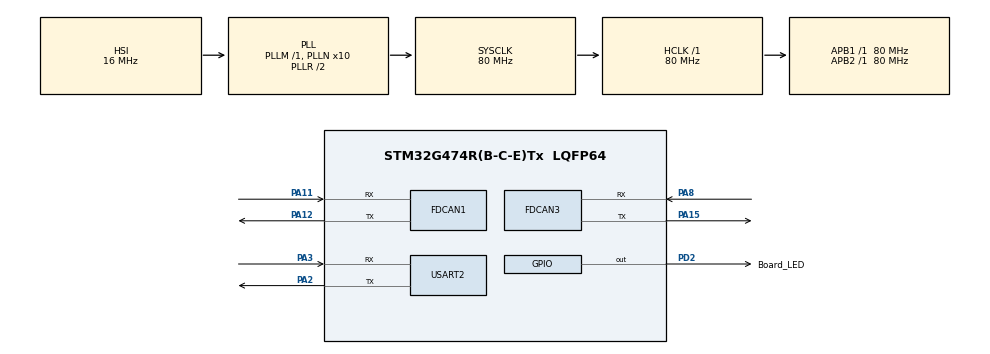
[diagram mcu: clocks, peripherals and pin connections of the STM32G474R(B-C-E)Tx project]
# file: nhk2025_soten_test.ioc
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FDCAN1.CalculateBaudRateNominal=1000000
FDCAN1.CalculateTimeBitNominal=1000
FDCAN1.CalculateTimeQuantumNominal=50.0
FDCAN1.DataPrescaler=2
FDCAN1.DataTimeSeg1=15
FDCAN1.DataTimeSeg2=4
FDCAN1.FrameFormat=FDCAN_FRAME_FD_BRS
FDCAN1.NominalPrescaler=4
FDCAN1.NominalTimeSeg1=15
FDCAN1.NominalTimeSeg2=4
FDCAN1.StdFiltersNbr=1
FDCAN3.CalculateBaudRateNominal=1000000
FDCAN3.CalculateTimeBitNominal=1000
FDCAN3.CalculateTimeQuantumNominal=50.0
FDCAN3.DataPrescaler=2
FDCAN3.DataTimeSeg1=15
FDCAN3.DataTimeSeg2=4
FDCAN3.FrameFormat=FDCAN_FRAME_FD_BRS
FDCAN3.NominalPrescaler=4
FDCAN3.NominalTimeSeg1=15
FDCAN3.NominalTimeSeg2=4
FDCAN3.StdFiltersNbr=1
Mcu.Family=STM32G4
Mcu.Name=STM32G474R(B-C-E)Tx
Mcu.Package=LQFP64
NVIC.FDCAN1_IT0_IRQn=true\:0\:0\:false\:false\:true\:true\:true\:true
NVIC.FDCAN1_IT1_IRQn=true\:0\:0\:false\:false\:true\:true\:true\:true
NVIC.FDCAN3_IT0_IRQn=true\:0\:0\:false\:false\:true\:true\:true\:true
NVIC.FDCAN3_IT1_IRQn=true\:0\:0\:false\:false\:true\:true\:true\:true
NVIC.PriorityGroup=NVIC_PRIORITYGROUP_4
NVIC.TIM6_DAC_IRQn=true\:0\:0\:false\:false\:true\:true\:true\:true
NVIC.USART2_IRQn=true\:0\:0\:false\:false\:true\:true\:true\:true
PA11.Mode=FDCAN_Activate
PA11.Signal=FDCAN1_RX
PA12.Mode=FDCAN_Activate
PA12.Signal=FDCAN1_TX
PA15.Mode=FDCAN_Activate
PA15.Signal=FDCAN3_TX
PA2.Mode=Asynchronous
PA2.Signal=USART2_TX
PA3.Mode=Asynchronous
PA3.Signal=USART2_RX
PA8.Mode=FDCAN_Activate
PA8.Signal=FDCAN3_RX
PD2.GPIO_Label=Board_LED
PD2.Signal=GPIO_Output
ProjectManager.HeapSize=0x200
ProjectManager.StackSize=0x400
ProjectManager.TargetToolchain=STM32CubeIDE
RCC.ADC12Freq_Value=80000000
RCC.ADC345Freq_Value=80000000
RCC.AHBFreq_Value=80000000
RCC.APB1Freq_Value=80000000
RCC.APB1TimFreq_Value=80000000
RCC.APB2Freq_Value=80000000
RCC.APB2TimFreq_Value=80000000
RCC.CortexFreq_Value=80000000
RCC.EXTERNAL_CLOCK_VALUE=12288000
RCC.HCLKFreq_Value=80000000
RCC.HSE_VALUE=8000000
RCC.HSI48_VALUE=48000000
RCC.HSI_VALUE=16000000
RCC.LSE_VALUE=32768
RCC.PLLN=10
RCC.SYSCLKFreq_VALUE=80000000
RCC.SYSCLKSource=RCC_SYSCLKSOURCE_PLLCLK
RCC.USBFreq_Value=80000000
RCC.VCOOutputFreq_Value=160000000
TIM6.PeriodNoDither=7999
TIM6.Prescaler=9
USART2.VirtualMode-Asynchronous=VM_ASYNC
VP_SYS_VS_DBSignals.Mode=DisableDeadBatterySignals
VP_TIM6_VS_ClockSourceINT.Mode=Enable_Timer
board=custom

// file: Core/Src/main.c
/* USER CODE BEGIN Header */
/**
  ******************************************************************************
  * @file           : main.c
  * @brief          : Main program body
  ******************************************************************************
  * @attention
  *
  * Copyright (c) 2024 STMicroelectronics.
  * All rights reserved.
  *
  * This software is licensed under terms that can be found in the LICENSE file
  * in the root directory of this software component.
  * If no LICENSE file comes with this software, it is provided AS-IS.
  *
  ******************************************************************************
  */
/* USER CODE END Header */
#include "main.h"

/* USER CODE BEGIN Includes */
#include <stdio.h>
/* USER CODE END Includes */

/* USER CODE BEGIN PTD */
typedef struct{
	uint16_t CANID;
	uint8_t motorID;
	int16_t trgVel;
	volatile int16_t actVel;
	volatile int16_t p_actVel;
	volatile int16_t cu;
	double actangle;
	int16_t actCurrent;
	float hensa;
	float ind;
	float w;
}motor;

#define true 1
#define false 0
/* USER CODE END PTD */

FDCAN_HandleTypeDef hfdcan1;
FDCAN_HandleTypeDef hfdcan3;

TIM_HandleTypeDef htim6;

UART_HandleTypeDef huart2;

/* USER CODE BEGIN PV */
FDCAN_TxHeaderTypeDef TxHeader;
FDCAN_RxHeaderTypeDef RxHeader;
FDCAN_TxHeaderTypeDef TxHeader_motor;
FDCAN_RxHeaderTypeDef RxHeader_motor;
FDCAN_FilterTypeDef sFilterConfig;

uint8_t TxData[8] = {};
uint8_t RxData[8] = {};
uint8_t TxData_motor[8] = {};
uint8_t RxData_motor[8] = {};

motor robomas[8] = {
		{0x201, 1, 0, 0, 0, 0, 0, 0, 0, 0, 0},
		{0x202, 2, 0, 0, 0, 0, 0, 0, 0, 0, 0},
		{0x203, 3, 0, 0, 0, 0, 0, 0, 0, 0, 0},
		{0x204, 4, 0, 0, 0, 0, 0, 0, 0, 0, 0},
		{0x205, 5, 0, 0, 0, 0, 0, 0, 0, 0, 0},
		{0x206, 6, 0, 0, 0, 0, 0, 0, 0, 0, 0},
		{0x207, 7, 0, 0, 0, 0, 0, 0, 0, 0, 0},
		{0x208, 8, 0, 0, 0, 0, 0, 0, 0, 0, 0},
};

volatile float k_p = 6, k_i = 0.5, k_d = 0.0001;

volatile uint8_t is_Right = 0, is_Left = 0, is_Up = 0, is_Down = 0, is_Circle = 0, is_Square = 0, is_Triangle = 0;
volatile uint8_t is_Cross = 0, is_UpRight = 0, is_DownRight = 0, is_UpLeft = 0, is_DownLeft = 0, is_R1 = 0, is_L1 = 0;
volatile uint8_t is_Share = 0, is_Options = 0, is_R3 = 0, is_L3 = 0, is_PsButton = 0, is_Touchpad = 0;
/* USER CODE END PV */

void SystemClock_Config(void);
static void MX_GPIO_Init(void);
static void MX_FDCAN1_Init(void);
static void MX_USART2_UART_Init(void);
static void MX_FDCAN3_Init(void);
static void MX_TIM6_Init(void);

/* USER CODE BEGIN 0 */
void HAL_FDCAN_RxFifo0Callback(FDCAN_HandleTypeDef *hfdcan, uint32_t RxFifo0ITs){
	if ((RxFifo0ITs & FDCAN_IT_RX_FIFO0_NEW_MESSAGE) != RESET) {

	        /* Retrieve Rx messages from RX FIFO0 */
		if (HAL_FDCAN_GetRxMessage(&hfdcan3, FDCAN_RX_FIFO0, &RxHeader_motor, RxData_motor) != HAL_OK) {
			printf("fdcan_getrxmessage_motor is error\r\n");
			Error_Handler();
		}
		/*receive robomas's status*/
		for (int i=0; i<=7; i++){
			if (RxHeader_motor.Identifier == (robomas[i].CANID)) {
				robomas[i].actangle = (int16_t)((RxData_motor[0] << 8) | RxData_motor[1]);
				robomas[i].actVel = (int16_t)((RxData_motor[2] << 8) | RxData_motor[3]);
				robomas[i].actCurrent = (int16_t)((RxData_motor[4] << 8) | RxData_motor[5]);
			}
		}
	}
}

void HAL_FDCAN_RxFifo1Callback(FDCAN_HandleTypeDef *hfdcan, uint32_t RxFifo1ITs){
	if (RESET != (RxFifo1ITs & FDCAN_IT_RX_FIFO1_NEW_MESSAGE)) {

	        /* Retrieve Rx messages from RX FIFO0 */

		if (HAL_OK != HAL_FDCAN_GetRxMessage(&hfdcan1, FDCAN_RX_FIFO1, &RxHeader, RxData)) {
			printf("fdcan_getrxmessage is error\r\n");
			Error_Handler();
		}

		if (0x300 == RxHeader.Identifier) {
			if ((RxData[6] & 0x40) == 0x40){
				is_Right = true;
			}
			else {
				is_Right = false;
			}
			if ((RxData[6] & 0x20) == 0x20){
				is_Left = true;
			}
			else {
				is_Left = false;
			}
			if ((RxData[6] & 0x10) == 0x10){
				is_Up = true;
			}
			else {
				is_Up = false;
			}
			if ((RxData[6] & 0x8) == 0x8){
				is_Down = true;
			}
			else {
				is_Down = false;
			}
			if ((RxData[6] & 0x4) == 0x4){
				is_Circle = true;
			}
			else {
				is_Circle = false;
			}
		}

		if (0x301 == RxHeader.Identifier) {
			if ((int8_t)RxData[1] == 1) {
				is_Right = false;
				is_Left = false;
				is_Up = false;
				is_Down = false;
			}
		}

	}
}
/*Initializing fdcan1*/
void FDCAN_RxTxSettings(void){
	FDCAN_FilterTypeDef FDCAN_Filter_settings;
	FDCAN_Filter_settings.IdType = FDCAN_STANDARD_ID;
	FDCAN_Filter_settings.FilterIndex = 0;
	FDCAN_Filter_settings.FilterType = FDCAN_FILTER_RANGE;
	FDCAN_Filter_settings.FilterConfig = FDCAN_FILTER_TO_RXFIFO1;
	FDCAN_Filter_settings.FilterID1 = 0;
	FDCAN_Filter_settings.FilterID2 = 0x7FF;

	TxHeader.Identifier = 0x000;
	TxHeader.IdType = FDCAN_STANDARD_ID;
	TxHeader.TxFrameType = FDCAN_DATA_FRAME;
	TxHeader.DataLength = FDCAN_DLC_BYTES_8;
	TxHeader.ErrorStateIndicator = FDCAN_ESI_ACTIVE;
	TxHeader.BitRateSwitch = FDCAN_BRS_ON;
	TxHeader.FDFormat = FDCAN_FD_CAN;
	TxHeader.TxEventFifoControl = FDCAN_NO_TX_EVENTS;
	TxHeader.MessageMarker = 0;

	if (HAL_OK != HAL_FDCAN_ConfigFilter(&hfdcan1, &FDCAN_Filter_settings)){
		printf("fdcan_configfilter is error\r\n");
		Error_Handler();
	}

	if (HAL_OK != HAL_FDCAN_ConfigGlobalFilter(&hfdcan1, FDCAN_REJECT, FDCAN_FILTER_REJECT, FDCAN_FILTER_REMOTE, FDCAN_FILTER_REMOTE)){
		printf("fdcan_configglobalfilter is error\r\n");
		Error_Handler();
	}

	if (HAL_OK != HAL_FDCAN_Start(&hfdcan1)) {
		printf("fdcan_start is error\r\n");
		Error_Handler();
	}

	if (HAL_OK != HAL_FDCAN_ActivateNotification(&hfdcan1, FDCAN_IT_RX_FIFO1_NEW_MESSAGE, 0)){
		printf("fdcan_activatenotification is error\r\n");
		Error_Handler();
	}
}

/*Initializing fdcan3*/
void FDCAN_motor_RxTxSettings(void) {
	FDCAN_FilterTypeDef FDCAN_Filter_settings_motor;
	FDCAN_Filter_settings_motor.IdType = FDCAN_STANDARD_ID;
	FDCAN_Filter_settings_motor.FilterIndex = 0;
	FDCAN_Filter_settings_motor.FilterType = FDCAN_FILTER_RANGE;
	FDCAN_Filter_settings_motor.FilterConfig = FDCAN_FILTER_TO_RXFIFO0;
	FDCAN_Filter_settings_motor.FilterID1 = 0x200;
	FDCAN_Filter_settings_motor.FilterID2 = 0x210;

	TxHeader_motor.Identifier = 0x200;
	TxHeader_motor.IdType = FDCAN_STANDARD_ID;
	TxHeader_motor.TxFrameType = FDCAN_DATA_FRAME;
	TxHeader_motor.DataLength = FDCAN_DLC_BYTES_8;
	TxHeader_motor.ErrorStateIndicator = FDCAN_ESI_ACTIVE;
	TxHeader_motor.BitRateSwitch = FDCAN_BRS_OFF;
	TxHeader_motor.FDFormat = FDCAN_CLASSIC_CAN;
	TxHeader_motor.TxEventFifoControl = FDCAN_NO_TX_EVENTS;
	TxHeader_motor.MessageMarker = 0;

	if (HAL_OK != HAL_FDCAN_ConfigFilter(&hfdcan3, &FDCAN_Filter_settings_motor)){
		printf("fdcan_configfilter is error\r\n");
		Error_Handler();
	}

	if (HAL_OK != HAL_FDCAN_ConfigGlobalFilter(&hfdcan3, FDCAN_REJECT, FDCAN_FILTER_REJECT, FDCAN_FILTER_REMOTE, FDCAN_FILTER_REMOTE)){
		printf("fdcan_configglobalfilter is error\r\n");
		Error_Handler();
	}

	if (HAL_OK != HAL_FDCAN_Start(&hfdcan3)) {
		printf("fdcan_start is error\r\n");
		Error_Handler();
	}

	if (HAL_OK != HAL_FDCAN_ActivateNotification(&hfdcan3, FDCAN_IT_RX_FIFO0_NEW_MESSAGE, 0)){
		printf("fdcan_activatenotification is error\r\n");
		Error_Handler();
	}
}

void HAL_TIM_PeriodElapsedCallback(TIM_HandleTypeDef *htim){
	if(htim == &htim6){
		for (int i=0; i<=3; i++){
			robomas[i].hensa = robomas[i].trgVel - robomas[i].actVel;
			if (robomas[i].hensa >= 1000) robomas[i].hensa = 1000;
			else if (robomas[i].hensa <= -1000) robomas[i].hensa = -1000;
			float d = (robomas[i].actVel - robomas[i].p_actVel) / 0.001;
			robomas[i].ind += robomas[i].hensa*0.1;
			if (d >= 30000) d = 30000;
			else if (d <= -30000) d = -30000;
			if (robomas[i].ind >= 10000) robomas[i].ind = 10000;
			else if (robomas[i].ind <= -10000) robomas[i].ind = -10000;

			float t = k_p*robomas[i].hensa;
			if (t>=10000) t = 10000;
			else if (t<=-10000) t = -10000;
			robomas[i].cu = (int16_t)(t+k_i*robomas[i].ind+k_d*d);
			if (robomas[i].cu <= -10000) robomas[i].cu = -10000;
			else if (robomas[i].cu >= 10000) robomas[i].cu = 10000;

			TxData_motor[i*2] = (robomas[i].cu) >> 8;
			TxData_motor[i*2+1] = (uint8_t)((robomas[i].cu) & 0xff);
			robomas[i].p_actVel = robomas[i].actVel;
		}

	}
}

int _write(int file, char *ptr, int len)
{
    HAL_UART_Transmit(&huart2,(uint8_t *)ptr,len,10);
    return len;
}
/* USER CODE END 0 */

int main(void)
{

  /* USER CODE BEGIN 1 */
	setbuf(stdout, NULL);
  /* USER CODE END 1 */

  /* MCU Configuration--------------------------------------------------------*/

  /* Reset of all peripherals, Initializes the Flash interface and the Systick. */
  HAL_Init();

  /* Configure the system clock */
  SystemClock_Config();

  /* Initialize all configured peripherals */
  MX_GPIO_Init();
  MX_FDCAN1_Init();
  MX_USART2_UART_Init();
  MX_FDCAN3_Init();
  MX_TIM6_Init();
  /* USER CODE BEGIN 2 */
  printf("start\r\n");
  FDCAN_motor_RxTxSettings();//Initialize fdcan3
  printf("can_motor_start\r\n");
  FDCAN_RxTxSettings();//Initialize fdcan1
  printf("can start\r\n");
  HAL_TIM_Base_Start_IT(&htim6);
  /* USER CODE END 2 */

  /* Infinite loop */
  /* USER CODE BEGIN WHILE */
  while (1)
  {
	  if (true == is_Circle) {
		  robomas[0].trgVel = 36 * 60;
		  printf("ok\r\n");
	  }
	  else {
		  robomas[0].trgVel = 0;
	  }
	  if (HAL_FDCAN_AddMessageToTxFifoQ(&hfdcan3, &TxHeader_motor, TxData_motor) != HAL_OK){
		  printf("addmassage is error\r\n");
		  Error_Handler();
	  }

	  HAL_Delay(10);

    /* USER CODE END WHILE */

  }
}

void SystemClock_Config(void)
{
  RCC_OscInitTypeDef RCC_OscInitStruct = {0};
  RCC_ClkInitTypeDef RCC_ClkInitStruct = {0};

  /** Configure the main internal regulator output voltage
  */
  HAL_PWREx_ControlVoltageScaling(PWR_REGULATOR_VOLTAGE_SCALE1);

  /** Initializes the RCC Oscillators according to the specified parameters
  * in the RCC_OscInitTypeDef structure.
  */
  RCC_OscInitStruct.OscillatorType = RCC_OSCILLATORTYPE_HSI;
  RCC_OscInitStruct.HSIState = RCC_HSI_ON;
  RCC_OscInitStruct.HSICalibrationValue = RCC_HSICALIBRATION_DEFAULT;
  RCC_OscInitStruct.PLL.PLLState = RCC_PLL_ON;
  RCC_OscInitStruct.PLL.PLLSource = RCC_PLLSOURCE_HSI;
  RCC_OscInitStruct.PLL.PLLM = RCC_PLLM_DIV1;
  RCC_OscInitStruct.PLL.PLLN = 10;
  RCC_OscInitStruct.PLL.PLLP = RCC_PLLP_DIV2;
  RCC_OscInitStruct.PLL.PLLQ = RCC_PLLQ_DIV2;
  RCC_OscInitStruct.PLL.PLLR = RCC_PLLR_DIV2;
  if (HAL_RCC_OscConfig(&RCC_OscInitStruct) != HAL_OK)
  {
    Error_Handler();
  }

  /** Initializes the CPU, AHB and APB buses clocks
  */
  RCC_ClkInitStruct.ClockType = RCC_CLOCKTYPE_HCLK|RCC_CLOCKTYPE_SYSCLK
                              |RCC_CLOCKTYPE_PCLK1|RCC_CLOCKTYPE_PCLK2;
  RCC_ClkInitStruct.SYSCLKSource = RCC_SYSCLKSOURCE_PLLCLK;
  RCC_ClkInitStruct.AHBCLKDivider = RCC_SYSCLK_DIV1;
  RCC_ClkInitStruct.APB1CLKDivider = RCC_HCLK_DIV1;
  RCC_ClkInitStruct.APB2CLKDivider = RCC_HCLK_DIV1;

  if (HAL_RCC_ClockConfig(&RCC_ClkInitStruct, FLASH_LATENCY_2) != HAL_OK)
  {
    Error_Handler();
  }
}

static void MX_FDCAN1_Init(void)
{

  hfdcan1.Instance = FDCAN1;
  hfdcan1.Init.ClockDivider = FDCAN_CLOCK_DIV1;
  hfdcan1.Init.FrameFormat = FDCAN_FRAME_FD_BRS;
  hfdcan1.Init.Mode = FDCAN_MODE_NORMAL;
  hfdcan1.Init.AutoRetransmission = DISABLE;
  hfdcan1.Init.TransmitPause = DISABLE;
  hfdcan1.Init.ProtocolException = DISABLE;
  hfdcan1.Init.NominalPrescaler = 4;
  hfdcan1.Init.NominalSyncJumpWidth = 1;
  hfdcan1.Init.NominalTimeSeg1 = 15;
  hfdcan1.Init.NominalTimeSeg2 = 4;
  hfdcan1.Init.DataPrescaler = 2;
  hfdcan1.Init.DataSyncJumpWidth = 1;
  hfdcan1.Init.DataTimeSeg1 = 15;
  hfdcan1.Init.DataTimeSeg2 = 4;
  hfdcan1.Init.StdFiltersNbr = 1;
  hfdcan1.Init.ExtFiltersNbr = 0;
  hfdcan1.Init.TxFifoQueueMode = FDCAN_TX_FIFO_OPERATION;
  if (HAL_FDCAN_Init(&hfdcan1) != HAL_OK)
  {
    Error_Handler();
  }

}

static void MX_FDCAN3_Init(void)
{

  hfdcan3.Instance = FDCAN3;
  hfdcan3.Init.ClockDivider = FDCAN_CLOCK_DIV1;
  hfdcan3.Init.FrameFormat = FDCAN_FRAME_FD_BRS;
  hfdcan3.Init.Mode = FDCAN_MODE_NORMAL;
  hfdcan3.Init.AutoRetransmission = DISABLE;
  hfdcan3.Init.TransmitPause = DISABLE;
  hfdcan3.Init.ProtocolException = DISABLE;
  hfdcan3.Init.NominalPrescaler = 4;
  hfdcan3.Init.NominalSyncJumpWidth = 1;
  hfdcan3.Init.NominalTimeSeg1 = 15;
  hfdcan3.Init.NominalTimeSeg2 = 4;
  hfdcan3.Init.DataPrescaler = 2;
  hfdcan3.Init.DataSyncJumpWidth = 1;
  hfdcan3.Init.DataTimeSeg1 = 15;
  hfdcan3.Init.DataTimeSeg2 = 4;
  hfdcan3.Init.StdFiltersNbr = 1;
  hfdcan3.Init.ExtFiltersNbr = 0;
  hfdcan3.Init.TxFifoQueueMode = FDCAN_TX_FIFO_OPERATION;
  if (HAL_FDCAN_Init(&hfdcan3) != HAL_OK)
  {
    Error_Handler();
  }

}

static void MX_TIM6_Init(void)
{

  TIM_MasterConfigTypeDef sMasterConfig = {0};

  htim6.Instance = TIM6;
  htim6.Init.Prescaler = 9;
  htim6.Init.CounterMode = TIM_COUNTERMODE_UP;
  htim6.Init.Period = 7999;
  htim6.Init.AutoReloadPreload = TIM_AUTORELOAD_PRELOAD_DISABLE;
  if (HAL_TIM_Base_Init(&htim6) != HAL_OK)
  {
    Error_Handler();
  }
  sMasterConfig.MasterOutputTrigger = TIM_TRGO_RESET;
  sMasterConfig.MasterSlaveMode = TIM_MASTERSLAVEMODE_DISABLE;
  if (HAL_TIMEx_MasterConfigSynchronization(&htim6, &sMasterConfig) != HAL_OK)
  {
    Error_Handler();
  }

}

static void MX_USART2_UART_Init(void)
{

  huart2.Instance = USART2;
  huart2.Init.BaudRate = 115200;
  huart2.Init.WordLength = UART_WORDLENGTH_8B;
  huart2.Init.StopBits = UART_STOPBITS_1;
  huart2.Init.Parity = UART_PARITY_NONE;
  huart2.Init.Mode = UART_MODE_TX_RX;
  huart2.Init.HwFlowCtl = UART_HWCONTROL_NONE;
  huart2.Init.OverSampling = UART_OVERSAMPLING_16;
  huart2.Init.OneBitSampling = UART_ONE_BIT_SAMPLE_DISABLE;
  huart2.Init.ClockPrescaler = UART_PRESCALER_DIV1;
  huart2.AdvancedInit.AdvFeatureInit = UART_ADVFEATURE_NO_INIT;
  if (HAL_UART_Init(&huart2) != HAL_OK)
  {
    Error_Handler();
  }
  if (HAL_UARTEx_SetTxFifoThreshold(&huart2, UART_TXFIFO_THRESHOLD_1_8) != HAL_OK)
  {
    Error_Handler();
  }
  if (HAL_UARTEx_SetRxFifoThreshold(&huart2, UART_RXFIFO_THRESHOLD_1_8) != HAL_OK)
  {
    Error_Handler();
  }
  if (HAL_UARTEx_DisableFifoMode(&huart2) != HAL_OK)
  {
    Error_Handler();
  }

}

static void MX_GPIO_Init(void)
{
  GPIO_InitTypeDef GPIO_InitStruct = {0};

  /* GPIO Ports Clock Enable */
  __HAL_RCC_GPIOA_CLK_ENABLE();
  __HAL_RCC_GPIOD_CLK_ENABLE();

  /*Configure GPIO pin Output Level */
  HAL_GPIO_WritePin(Board_LED_GPIO_Port, Board_LED_Pin, GPIO_PIN_RESET);

  /*Configure GPIO pin : Board_LED_Pin */
  GPIO_InitStruct.Pin = Board_LED_Pin;
  GPIO_InitStruct.Mode = GPIO_MODE_OUTPUT_PP;
  GPIO_InitStruct.Pull = GPIO_NOPULL;
  GPIO_InitStruct.Speed = GPIO_SPEED_FREQ_LOW;
  HAL_GPIO_Init(Board_LED_GPIO_Port, &GPIO_InitStruct);

}

void Error_Handler(void)
{
  __disable_irq();
  while (1)
  {
  }
}
